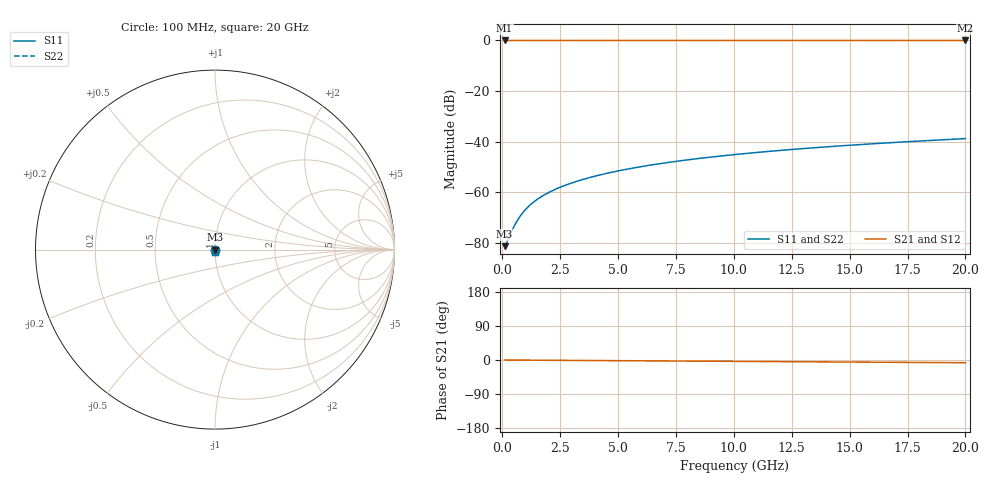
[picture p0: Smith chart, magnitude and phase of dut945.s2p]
! Touchstone file exported from HFSS 2026.1.0
!  File:  C:/ffzhzh/LocalFiles/Ansys_Project_Files/temp_train_TSV_945_1783187157_55132.aedt
!  Generated:  01:47:19 AM Jul  5, 2026
!  Design:  TSV
!  Project:  temp_train_TSV_945_1783187157_55132
! Variables:
!  h_bsmrdl = 2um
!  h_ox = 20um
!  h_rdl = 5um
!  h_sub = 70.6um
!  h_tmrdl = 5um
!  h_tsv = 70.6um
!  h_via = 3um
!  l_bsmrdl = 300um
!  l_sub = 425.06um
!  l_tmrdl = 200um
!  m_sub = 200um
!  pitch = 45.66um
!  r_tsv = 12.53um
!  s_tmrdl = 10um
!  w_bsmrdl = 18um
!  w_sub = 500um
!  w_tmrdl = 12um
!  x_tsv_center1 = 206um
!  x_tsv_center2 = 524um
!  x_tsv_center3 = 736um
!  x_tsv_center4 = 1054um
!  x_tsv_center5 = 1266um
!  x_tsv_center6 = 1584um
# GHz S MA R 50.000000
! Terminal data exported
! Port[1] = TSV1_1_T1
! Port[2] = TSV1_1_T2
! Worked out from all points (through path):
!   200 points, 100 MHz to 20 GHz, reference 50 ohm
!   highest |S21| = 0.00 dB at 100 MHz (marker M1); lowest = 0.0 dB at 20 GHz (marker M2)
!   lowest |S11| = -81.2 dB at 100 MHz (marker M3), VSWR 1.00, Z = 50 - j0.00195 ohm
!   |S11| at or under -10 dB: start of sweep to end of sweep
!   |S22| runs from -81.2 to -38.8 dB; largest |S21 - S12| = 3.1e-15
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0.1  8.695e-05 -12.9  0.9999 -0.0  0.9999 -0.0  8.695e-05 -12.9
! Gamma 0 0 0 0
! Port Impedance 50 0 50 0
0.2  0.0001051 -23.5  0.9999 -0.1  0.9999 -0.1  0.0001051 -23.5
0.4  0.0001688 -37.6  0.9999 -0.2  0.9999 -0.2  0.0001688 -37.6
0.5  0.0002102 -42.5  0.9998 -0.2  0.9998 -0.2  0.0002102 -42.5
0.6  0.0002558 -46.7  0.9998 -0.2  0.9998 -0.2  0.0002558 -46.7
0.8  0.0003546 -53.3  0.9998 -0.3  0.9998 -0.3  0.0003546 -53.3
1  0.0004586 -58.3  0.9998 -0.4  0.9998 -0.4  0.0004586 -58.3
1.3  0.0006184 -63.8  0.9997 -0.5  0.9997 -0.5  0.0006184 -63.8
1.5  0.0007258 -66.5  0.9997 -0.5  0.9997 -0.5  0.0007258 -66.5
1.7  0.0008335 -68.6  0.9997 -0.6  0.9997 -0.6  0.0008335 -68.6
2.2  0.001104 -72.6  0.9997 -0.8  0.9997 -0.8  0.001104 -72.6
2.8  0.00143 -75.5  0.9996 -1.0  0.9996 -1.0  0.00143 -75.5
3.5  0.001815 -77.8  0.9996 -1.3  0.9996 -1.3  0.001815 -77.8
4.2  0.002206 -79.5  0.9995 -1.5  0.9995 -1.5  0.002206 -79.5
5  0.002659 -80.9  0.9995 -1.8  0.9995 -1.8  0.002659 -80.9
5.9  0.003174 -82.1  0.9994 -2.1  0.9994 -2.1  0.003174 -82.2
6.8  0.003695 -83.2  0.9994 -2.5  0.9994 -2.5  0.003695 -83.2
8.3  0.004571 -84.7  0.9993 -3.0  0.9993 -3.0  0.004571 -84.7
10.1  0.005631 -86.3  0.9993 -3.6  0.9993 -3.6  0.005631 -86.3
13.4  0.007586 -88.6  0.9991 -4.8  0.9991 -4.8  0.007586 -88.6
16.7  0.009556 -90.4  0.999 -6.0  0.999 -6.0  0.009556 -90.5
20  0.01154 -92.1  0.9989 -7.2  0.9989 -7.2  0.01154 -92.1
